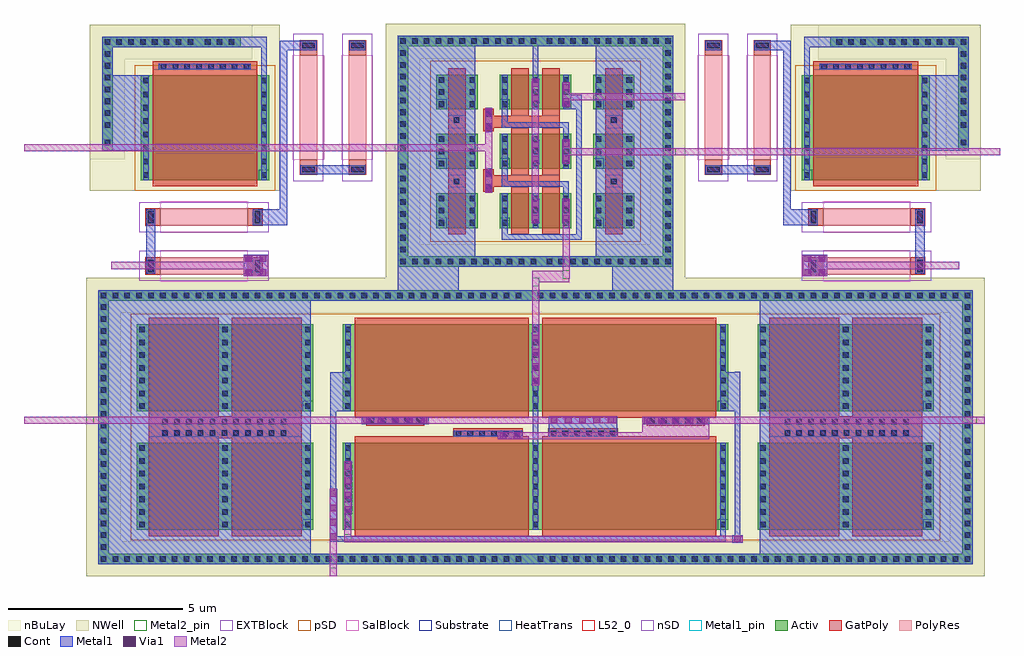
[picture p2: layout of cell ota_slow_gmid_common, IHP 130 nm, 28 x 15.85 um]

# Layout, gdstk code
from math import pi, radians
import gdstk
lib = gdstk.Library(unit=1e-6, precision=1e-09)
def R(c, l, rs):  # rectangles x0, y0, x1, y1
    for r in rs: c.add(gdstk.rectangle(r[:2], r[2:], *l))
def A(c, l, x, y, w, h, nx, ny, dx, dy):  # array of equal rectangles
    R(c, l, [(x+i*dx, y+j*dy, x+i*dx+w, y+j*dy+h) for i in range(nx) for j in range(ny)])
def P(c, l, *ps):  # polygons
    for p in ps: c.add(gdstk.Polygon(p, *l))
Activ = (1, 0)
GatPoly = (5, 0)
Cont = (6, 0)
nSD = (7, 0)
Metal1 = (8, 0)
Metal1_pin = (8, 2)
Metal2 = (10, 0)
Metal2_pin = (10, 2)
pSD = (14, 0)
Via1 = (19, 0)
SalBlock = (28, 0)
NWell = (31, 0)
nBuLay = (32, 0)
Substrate = (40, 0)
HeatTrans = (51, 0)
L52_0 = (52, 0)
EXTBlock = (111, 0)
PolyRes = (128, 0)

pmos_3 = lib.new_cell('pmos$3')
A(pmos_3, Activ, 0, 0, 0.3, 0.3, 3, 1, 0.88, 0)
R(pmos_3, Activ, [(0,0,2.06,1)])
R(pmos_3, GatPoly, [(0.34,-0.18,0.84,1.18), (0.34,-0.18,0.84,1.18), (1.22,-0.18,1.72,1.18)])
A(pmos_3, Cont, 0.07, 0.07, 0.16, 0.16, 3, 3, 0.88, 0.35)
R(pmos_3, Metal1, [(0.07,0,0.23,1), (0.07,0,0.23,1), (0.95,0,1.11,1), (0.95,0,1.11,1), (1.83,0,1.99,1)])
R(pmos_3, pSD, [(-0.18,-0.3,2.24,1.3)])
R(pmos_3, NWell, [(-0.31,-0.31,2.37,1.31)])
R(pmos_3, Substrate, [(1.76,0,2.06,0.3)])
R(pmos_3, HeatTrans, [(0.34,-0.18,0.84,1.18), (1.22,-0.18,1.72,1.18)])
pmos_3.add(gdstk.Label('pmos', (0.59,0.5), layer=63, texttype=0))
pmos_3.add(gdstk.Label('pmos', (0.59,0.5), layer=51, texttype=0))
pmos_3.add(gdstk.Label('pmos', (1.47,0.5), layer=51, texttype=0))

pmos_2 = lib.new_cell('pmos$2')
R(pmos_2, Activ, [(0,0,0.3,0.3), (0,0,1.18,1), (0.88,0,1.18,0.3)])
R(pmos_2, GatPoly, [(0.34,-0.18,0.84,1.18), (0.34,-0.18,0.84,1.18)])
A(pmos_2, Cont, 0.07, 0.07, 0.16, 0.16, 1, 3, 0, 0.35)
A(pmos_2, Cont, 0.95, 0.07, 0.16, 0.16, 1, 3, 0, 0.35)
R(pmos_2, Metal1, [(0.07,0,0.23,1), (0.07,0,0.23,1), (0.95,0,1.11,1), (0.95,0,1.11,1)])
R(pmos_2, pSD, [(-0.18,-0.3,1.36,1.3)])
R(pmos_2, NWell, [(-0.31,-0.31,1.49,1.31)])
R(pmos_2, Substrate, [(0.88,0,1.18,0.3)])
R(pmos_2, HeatTrans, [(0.34,-0.18,0.84,1.18)])
pmos_2.add(gdstk.Label('pmos', (0.59,0.5), layer=63, texttype=0))
pmos_2.add(gdstk.Label('pmos', (0.59,0.5), layer=51, texttype=0))

guard_ring_4_1 = lib.new_cell('guard_ring$4$1')
R(guard_ring_4_1, Activ, [(-3.95,-3.01,-3.65,3.01), (3.65,-3.01,3.95,3.01), (-3.95,3.01,3.95,3.31)])
P(guard_ring_4_1, Activ, [(-3.95,-3.31),(-3.95,3.01),(-3.65,3.01),(-3.65,-3.01),(3.65,-3.01),(3.65,3.01),(-3.95,3.01),(-3.95,3.31),(3.95,3.31),(3.95,-3.31)])
A(guard_ring_4_1, Cont, -3.88, -3.24, 0.16, 0.16, 11, 2, 0.34, 6.32)
A(guard_ring_4_1, Cont, -0.02, -3.24, 0.16, 0.16, 12, 2, 0.34, 6.32)
A(guard_ring_4_1, Cont, -3.88, -2.9, 0.16, 0.16, 1, 8, 0, 0.34)
A(guard_ring_4_1, Cont, 3.72, -2.9, 0.16, 0.16, 1, 8, 0, 0.34)
A(guard_ring_4_1, Cont, -3.88, 0.02, 0.16, 0.16, 1, 9, 0, 0.34)
A(guard_ring_4_1, Cont, 3.72, 0.02, 0.16, 0.16, 1, 9, 0, 0.34)
R(guard_ring_4_1, Metal1, [(-3.95,-3.31,3.95,-3.01), (-3.95,-3.01,-3.65,3.01), (3.65,-3.01,3.95,3.01), (-3.95,3.01,3.95,3.31)])
R(guard_ring_4_1, NWell, [(-4.3,-3.66,4.3,3.66)])
R(guard_ring_4_1, nBuLay, [(-4.3,-2.66,-3.3,2.66), (3.3,-2.66,4.3,2.66), (-4.3,2.66,4.3,3.66)])
P(guard_ring_4_1, nBuLay, [(-4.3,-3.66),(-4.3,2.66),(-3.3,2.66),(-3.3,-2.66),(3.3,-2.66),(3.3,2.66),(-4.3,2.66),(-4.3,3.66),(4.3,3.66),(4.3,-3.66)])
guard_ring_4_1.add(gdstk.Label('well', (0,-3.16), layer=63, texttype=0))

via_stack_14_1 = lib.new_cell('via_stack$14$1')
R(via_stack_14_1, GatPoly, [(-0.15,-0.32,0.15,0.32)])
R(via_stack_14_1, Cont, [(-0.08,-0.25,0.08,-0.09), (-0.08,0.09,0.08,0.25)])
R(via_stack_14_1, Metal1, [(-0.105,-0.35,0.105,0.35)])
R(via_stack_14_1, Metal2, [(-0.1,-0.35,0.1,0.35)])
R(via_stack_14_1, Via1, [(-0.095,-0.3,0.095,-0.11), (-0.095,0.11,0.095,0.3)])

via_stack_16_1 = lib.new_cell('via_stack$16$1')
R(via_stack_16_1, GatPoly, [(-0.15,-0.15,0.15,0.15)])
R(via_stack_16_1, Cont, [(-0.08,-0.08,0.08,0.08)])
R(via_stack_16_1, Metal1, [(-0.13,-0.08,0.13,0.08)])

via_stack_10_1 = lib.new_cell('via_stack$10$1')
R(via_stack_10_1, Metal1, [(-0.105,-0.35,0.105,0.35)])
R(via_stack_10_1, Metal2, [(-0.1,-0.35,0.1,0.35)])
R(via_stack_10_1, Via1, [(-0.095,-0.3,0.095,-0.11), (-0.095,0.11,0.095,0.3)])

ota_slow_gmid_tail = lib.new_cell('ota_slow_gmid_tail')
R(ota_slow_gmid_tail, GatPoly, [(-2.5,-1.02,-2,-0.68), (-1.395,-1.02,0.69,-0.68), (2,-1.02,2.5,-0.68), (-2.5,0.68,-2,1.02), (-1.415,0.68,0.69,1.02), (2,0.68,2.5,1.02)])
R(ota_slow_gmid_tail, Metal1, [(-3.95,-3.31,-1.73,3.31), (1.73,-3.31,3.95,3.31), (-0.96,-2.54,1.33,-2.38), (-0.96,-2.54,-0.8,-2.145), (1.17,-2.54,1.33,1.62), (0.8,-1.39,0.96,-0.86), (-0.96,-1.02,-0.8,-0.385), (-0.96,-1.02,0.96,-0.86), (0.8,0.31,0.96,0.84), (-0.96,0.68,-0.8,1.315), (-0.96,0.68,0.96,0.84), (0.8,1.2,1.33,1.62), (-0.08,2.115,0.08,3.31)])
R(ota_slow_gmid_tail, Metal1_pin, [(-3.95,3.01,3.95,3.31)])
R(ota_slow_gmid_tail, Metal2, [(0.78,-3.66,0.98,-1.82), (-0.1,-2.06,0.1,2.085), (-1.44,-0.835,-1.24,0.85), (0.78,-0.11,4.3,0.09), (-4.3,0,-1.24,0.2), (0.78,1.465,4.3,1.665)])
R(ota_slow_gmid_tail, Metal2_pin, [(0.78,-3.66,0.98,-3.41), (4.005,-0.11,4.3,0.09), (-4.3,0,-4.015,0.2), (4,1.465,4.3,1.665)])
R(ota_slow_gmid_tail, pSD, [(-3.02,-2.6,3.02,2.6)])
R(ota_slow_gmid_tail, NWell, [(-3.15,-2.51,3.15,2.51)])
r = gdstk.Reference(pmos_3, (1.03,-2.2), rotation=pi, x_reflection=True); r.repetition = gdstk.Repetition(1, 3, v1=(0,0), v2=(0,1.7)); ota_slow_gmid_tail.add(r)
r = gdstk.Reference(pmos_2, (2.84,-2.2), rotation=pi, x_reflection=True); r.repetition = gdstk.Repetition(2, 3, v1=(-4.5,0), v2=(0,1.7)); ota_slow_gmid_tail.add(r)
ota_slow_gmid_tail.add(gdstk.Reference(guard_ring_4_1, (0,0), rotation=pi, x_reflection=True))
ota_slow_gmid_tail.add(gdstk.Reference(via_stack_14_1, (-1.34,-0.84), rotation=pi, x_reflection=True))
ota_slow_gmid_tail.add(gdstk.Reference(via_stack_14_1, (-1.34,0.9), rotation=pi, x_reflection=True))
ota_slow_gmid_tail.add(gdstk.Reference(via_stack_16_1, (2.245,0.895), rotation=pi, x_reflection=True))
ota_slow_gmid_tail.add(gdstk.Reference(via_stack_16_1, (2.245,-0.865), rotation=pi, x_reflection=True))
ota_slow_gmid_tail.add(gdstk.Reference(via_stack_16_1, (-2.27,0.895), rotation=pi, x_reflection=True))
ota_slow_gmid_tail.add(gdstk.Reference(via_stack_16_1, (-2.27,-0.865), rotation=pi, x_reflection=True))
ota_slow_gmid_tail.add(gdstk.Reference(via_stack_10_1, (0.88,1.625), rotation=pi, x_reflection=True))
ota_slow_gmid_tail.add(gdstk.Reference(via_stack_10_1, (0.88,0), rotation=pi, x_reflection=True))
ota_slow_gmid_tail.add(gdstk.Reference(via_stack_10_1, (0.88,-1.71), rotation=pi, x_reflection=True))
ota_slow_gmid_tail.add(gdstk.Reference(via_stack_10_1, (0,-1.71), rotation=pi, x_reflection=True))
ota_slow_gmid_tail.add(gdstk.Reference(via_stack_10_1, (0,-0.02), rotation=pi, x_reflection=True))
ota_slow_gmid_tail.add(gdstk.Reference(via_stack_10_1, (0,1.735), rotation=pi, x_reflection=True))
ota_slow_gmid_tail.add(gdstk.Label('VDD', (0,3.31), layer=8, texttype=2))
ota_slow_gmid_tail.add(gdstk.Label('tail', (0.88,-3.66), layer=10, texttype=2))
ota_slow_gmid_tail.add(gdstk.Label('ibiasn', (4.3,1.565), layer=10, texttype=2))
ota_slow_gmid_tail.add(gdstk.Label('vout1', (4.3,-0.01), layer=10, texttype=2))
ota_slow_gmid_tail.add(gdstk.Label('ibias', (-4.3,0.1), layer=10, texttype=2))

pmos = lib.new_cell('pmos')
A(pmos, Activ, 0, 0, 0.3, 0.3, 3, 1, 5.38, 0)
R(pmos, Activ, [(0,0,11.06,2.5)])
R(pmos, GatPoly, [(0.34,-0.18,5.34,2.68), (0.34,-0.18,5.34,2.68), (5.72,-0.18,10.72,2.68)])
A(pmos, Cont, 0.07, 0.07, 0.16, 0.16, 3, 3, 5.38, 0.365)
A(pmos, Cont, 0.07, 1.17, 0.16, 0.16, 3, 3, 5.38, 0.365)
A(pmos, Cont, 0.07, 2.27, 0.16, 0.16, 3, 1, 5.38, 0)
R(pmos, Metal1, [(0.07,0,0.23,2.5), (0.07,0,0.23,2.5), (5.45,0,5.61,2.5), (5.45,0,5.61,2.5), (10.83,0,10.99,2.5)])
R(pmos, pSD, [(-0.18,-0.3,11.24,2.8)])
R(pmos, NWell, [(-0.31,-0.31,11.37,2.81)])
R(pmos, Substrate, [(10.76,0,11.06,0.3)])
R(pmos, HeatTrans, [(0.34,-0.18,5.34,2.68), (5.72,-0.18,10.72,2.68)])
pmos.add(gdstk.Label('pmos', (2.84,1.25), layer=63, texttype=0))
pmos.add(gdstk.Label('pmos', (2.84,1.25), layer=51, texttype=0))
pmos.add(gdstk.Label('pmos', (8.22,1.25), layer=51, texttype=0))

pmos_4 = lib.new_cell('pmos$4')
A(pmos_4, Activ, 0, 0, 0.3, 0.3, 3, 1, 2.38, 0)
R(pmos_4, Activ, [(0,0,5.06,2.5)])
R(pmos_4, GatPoly, [(0.34,-0.18,2.34,2.68), (0.34,-0.18,2.34,2.68), (2.72,-0.18,4.72,2.68)])
A(pmos_4, Cont, 0.07, 0.07, 0.16, 0.16, 3, 3, 2.38, 0.365)
A(pmos_4, Cont, 0.07, 1.17, 0.16, 0.16, 3, 3, 2.38, 0.365)
A(pmos_4, Cont, 0.07, 2.27, 0.16, 0.16, 3, 1, 2.38, 0)
R(pmos_4, Metal1, [(0.07,0,0.23,2.5), (0.07,0,0.23,2.5), (2.45,0,2.61,2.5), (2.45,0,2.61,2.5), (4.83,0,4.99,2.5)])
R(pmos_4, pSD, [(-0.18,-0.3,5.24,2.8)])
R(pmos_4, NWell, [(-0.31,-0.31,5.37,2.81)])
R(pmos_4, Substrate, [(4.76,0,5.06,0.3)])
R(pmos_4, HeatTrans, [(0.34,-0.18,2.34,2.68), (2.72,-0.18,4.72,2.68)])
pmos_4.add(gdstk.Label('pmos', (1.34,1.25), layer=63, texttype=0))
pmos_4.add(gdstk.Label('pmos', (1.34,1.25), layer=51, texttype=0))
pmos_4.add(gdstk.Label('pmos', (3.72,1.25), layer=51, texttype=0))

via_stack_17 = lib.new_cell('via_stack$17')
R(via_stack_17, GatPoly, [(-1.85,-0.32,1.85,0.32)])
A(via_stack_17, Cont, -1.78, -0.25, 0.16, 0.16, 11, 2, 0.34, 0.34)
R(via_stack_17, Metal1, [(-1.83,-0.25,1.83,0.25)])

guard_ring_5 = lib.new_cell('guard_ring$5')
R(guard_ring_5, Activ, [(-12.54,-3.63,-12.24,3.63), (12.24,-3.63,12.54,3.63), (-12.54,3.63,12.54,3.93)])
P(guard_ring_5, Activ, [(-12.54,-3.93),(-12.54,3.63),(-12.24,3.63),(-12.24,-3.63),(12.24,-3.63),(12.24,3.63),(-12.54,3.63),(-12.54,3.93),(12.54,3.93),(12.54,-3.93)])
A(guard_ring_5, Cont, -12.47, -3.86, 0.16, 0.16, 36, 2, 0.34, 7.56)
A(guard_ring_5, Cont, 0.07, -3.86, 0.16, 0.16, 37, 2, 0.34, 7.56)
A(guard_ring_5, Cont, -12.47, -3.52, 0.16, 0.16, 1, 10, 0, 0.34)
A(guard_ring_5, Cont, 12.31, -3.52, 0.16, 0.16, 1, 10, 0, 0.34)
A(guard_ring_5, Cont, -12.47, -0.04, 0.16, 0.16, 1, 11, 0, 0.34)
A(guard_ring_5, Cont, 12.31, -0.04, 0.16, 0.16, 1, 11, 0, 0.34)
R(guard_ring_5, Metal1, [(-12.54,-3.93,12.54,-3.63), (-12.54,-3.63,-12.24,3.63), (12.24,-3.63,12.54,3.63), (-12.54,3.63,12.54,3.93)])
R(guard_ring_5, NWell, [(-12.89,-4.28,12.89,4.28)])
R(guard_ring_5, nBuLay, [(-12.89,-3.28,-11.89,3.28), (11.89,-3.28,12.89,3.28), (-12.89,3.28,12.89,4.28)])
P(guard_ring_5, nBuLay, [(-12.89,-4.28),(-12.89,3.28),(-11.89,3.28),(-11.89,-3.28),(11.89,-3.28),(11.89,3.28),(-12.89,3.28),(-12.89,4.28),(12.89,4.28),(12.89,-4.28)])
guard_ring_5.add(gdstk.Label('well', (0,-3.78), layer=63, texttype=0))

via_stack_2_1 = lib.new_cell('via_stack$2$1')
R(via_stack_2_1, Metal1, [(-0.105,-0.76,0.105,0.76)])
R(via_stack_2_1, Metal2, [(-0.1,-0.76,0.1,0.76)])
A(via_stack_2_1, Via1, -0.095, -0.71, 0.19, 0.19, 1, 4, 0, 0.41)

via_stack_8_1 = lib.new_cell('via_stack$8$1')
R(via_stack_8_1, Metal1, [(-0.145,-0.105,0.145,0.105)])
R(via_stack_8_1, Metal2, [(-0.145,-0.1,0.145,0.1)])
R(via_stack_8_1, Via1, [(-0.095,-0.095,0.095,0.095)])

via_stack_6_1 = lib.new_cell('via_stack$6$1')
R(via_stack_6_1, GatPoly, [(-0.83,-0.15,0.83,0.15)])
A(via_stack_6_1, Cont, -0.76, -0.08, 0.16, 0.16, 5, 1, 0.34, 0)
R(via_stack_6_1, Metal1, [(-0.965,-0.105,0.965,0.105)])
R(via_stack_6_1, Metal2, [(-0.965,-0.1,0.965,0.1)])
A(via_stack_6_1, Via1, -0.915, -0.095, 0.19, 0.19, 5, 1, 0.41, 0)

via_stack_3_1 = lib.new_cell('via_stack$3$1')
R(via_stack_3_1, GatPoly, [(-1,-0.15,1,0.15)])
A(via_stack_3_1, Cont, -0.93, -0.08, 0.16, 0.16, 6, 1, 0.34, 0)
R(via_stack_3_1, Metal1, [(-0.98,-0.08,0.98,0.08)])

via_stack_5 = lib.new_cell('via_stack$5')
R(via_stack_5, Metal1, [(-0.35,-0.105,0.35,0.105)])
R(via_stack_5, Metal2, [(-0.35,-0.1,0.35,0.1)])
R(via_stack_5, Via1, [(-0.3,-0.095,-0.11,0.095), (0.11,-0.095,0.3,0.095)])

via_stack_4_1 = lib.new_cell('via_stack$4$1')
R(via_stack_4_1, Metal1, [(-0.965,-0.105,0.965,0.105)])
R(via_stack_4_1, Metal2, [(-0.965,-0.1,0.965,0.1)])
A(via_stack_4_1, Via1, -0.915, -0.095, 0.19, 0.19, 5, 1, 0.41, 0)

ota_slow_gmid_pairs = lib.new_cell('ota_slow_gmid_pairs')
R(ota_slow_gmid_pairs, GatPoly, [(-11.09,-0.27,-6.71,0.27), (6.71,-0.27,11.09,0.27)])
R(ota_slow_gmid_pairs, Metal1, [(-12.54,-3.93,-6.44,3.93), (6.44,-3.93,12.54,3.93), (-5.88,-3.29,-5.71,1.575), (-5.88,-3.29,5.46,-3.13), (5.3,-3.29,5.46,-2.8), (5.71,-3.25,5.88,1.58), (-0.08,-2.95,0.08,2.95), (0.385,-0.27,2.345,0.31), (-5.88,0.45,-5.3,1.575), (5.3,0.45,5.88,1.575)])
R(ota_slow_gmid_pairs, Metal1_pin, [(-9.54,3.63,9.54,3.93)])
R(ota_slow_gmid_pairs, Metal2, [(-5.895,-4.28,-5.695,-2.935), (-5.48,-3.31,-5.28,-2.32), (-5.48,-3.31,5.685,-3.11), (-1.08,-0.345,4.99,-0.145), (3.06,-0.315,4.99,0.29), (-12.89,0.09,-4.81,0.29), (-3.28,0.09,1.68,0.29), (4.545,0.09,12.89,0.29), (-0.095,2.395,0.105,4.28)])
R(ota_slow_gmid_pairs, Metal2_pin, [(-5.895,-4.28,-5.695,-4.035), (-5.48,-3.31,-5.28,-3.07), (-12.89,0.09,-12.665,0.29), (12.645,0.09,12.89,0.29), (-0.095,4.035,0.105,4.28)])
R(ota_slow_gmid_pairs, pSD, [(-11.61,-3.25,11.61,3.25)])
r = gdstk.Reference(pmos, (-5.53,-2.95)); r.repetition = gdstk.Repetition(1, 2, v1=(0,0), v2=(0,3.4)); ota_slow_gmid_pairs.add(r)
r = gdstk.Reference(pmos_4, (-11.43,-2.95)); r.repetition = gdstk.Repetition(2, 2, v1=(17.8,0), v2=(0,3.4)); ota_slow_gmid_pairs.add(r)
ota_slow_gmid_pairs.add(gdstk.Reference(via_stack_17, (8.925,-0.005)))
ota_slow_gmid_pairs.add(gdstk.Reference(via_stack_17, (-8.925,-0.005), rotation=pi, x_reflection=True))
ota_slow_gmid_pairs.add(gdstk.Reference(guard_ring_5, (0,0)))
ota_slow_gmid_pairs.add(gdstk.Reference(via_stack_2_1, (-5.38,-1.745)))
ota_slow_gmid_pairs.add(gdstk.Reference(via_stack_8_1, (5.795,-3.21)))
ota_slow_gmid_pairs.add(gdstk.Reference(via_stack_6_1, (-4.02,0.19)))
ota_slow_gmid_pairs.add(gdstk.Reference(via_stack_3_1, (-1.36,-0.19)))
ota_slow_gmid_pairs.add(gdstk.Reference(via_stack_6_1, (4.025,0.19), rotation=pi, x_reflection=True))
ota_slow_gmid_pairs.add(gdstk.Reference(via_stack_3_1, (1.365,-0.19), rotation=pi, x_reflection=True))
ota_slow_gmid_pairs.add(gdstk.Reference(via_stack_5, (-0.73,-0.25)))
ota_slow_gmid_pairs.add(gdstk.Reference(via_stack_4_1, (1.35,0.205)))
ota_slow_gmid_pairs.add(gdstk.Reference(via_stack_2_1, (0.005,1.94)))
ota_slow_gmid_pairs.add(gdstk.Reference(via_stack_2_1, (-5.795,-2.525)))
ota_slow_gmid_pairs.add(gdstk.Label('VDD', (0,3.93), layer=8, texttype=2))
ota_slow_gmid_pairs.add(gdstk.Label('vref', (-5.38,-3.31), layer=10, texttype=2))
ota_slow_gmid_pairs.add(gdstk.Label('vp', (-12.89,0.19), layer=10, texttype=2))
ota_slow_gmid_pairs.add(gdstk.Label('vota', (-5.795,-4.28), layer=10, texttype=2))
ota_slow_gmid_pairs.add(gdstk.Label('vn', (12.89,0.19), layer=10, texttype=2))
ota_slow_gmid_pairs.add(gdstk.Label('tail', (0,4.28), layer=10, texttype=2))

pmos_6 = lib.new_cell('pmos$6')
R(pmos_6, Activ, [(0,0,0.3,0.3), (0,0,3.68,3), (3.38,0,3.68,0.3)])
R(pmos_6, GatPoly, [(0.34,-0.18,3.34,3.18), (0.34,-0.18,3.34,3.18)])
A(pmos_6, Cont, 0.07, 0.07, 0.16, 0.16, 1, 7, 0, 0.385)
A(pmos_6, Cont, 3.45, 0.07, 0.16, 0.16, 1, 7, 0, 0.385)
R(pmos_6, Cont, [(0.07,2.77,0.23,2.93), (3.45,2.77,3.61,2.93)])
R(pmos_6, Metal1, [(0.07,0,0.23,3), (0.07,0,0.23,3), (3.45,0,3.61,3), (3.45,0,3.61,3)])
R(pmos_6, pSD, [(-0.18,-0.3,3.86,3.3)])
R(pmos_6, NWell, [(-0.31,-0.31,3.99,3.31)])
R(pmos_6, Substrate, [(3.38,0,3.68,0.3)])
R(pmos_6, HeatTrans, [(0.34,-0.18,3.34,3.18)])
pmos_6.add(gdstk.Label('pmos', (1.84,1.5), layer=63, texttype=0))
pmos_6.add(gdstk.Label('pmos', (1.84,1.5), layer=51, texttype=0))

rhigh_1 = lib.new_cell('rhigh$1')
R(rhigh_1, GatPoly, [(0,-0.43,0.5,0), (1.4,-0.43,1.9,0), (0,3,0.5,3.43), (1.4,3,1.9,3.43)])
R(rhigh_1, Cont, [(0.07,-0.36,0.43,-0.2), (1.47,-0.36,1.83,-0.2), (0.07,3.2,0.43,3.36), (1.47,3.2,1.83,3.36)])
R(rhigh_1, nSD, [(-0.18,-0.61,0.68,0.18), (1.22,-0.61,2.08,0.18), (-0.18,0,0.68,3), (-0.18,0,0.68,3), (1.22,0,2.08,3), (1.22,0,2.08,3), (-0.18,2.82,0.68,3.61), (1.22,2.82,2.08,3.61)])
R(rhigh_1, Metal1, [(0.02,-0.41,0.48,-0.15), (1.42,-0.41,1.88,-0.15), (0.02,3.15,0.48,3.41), (0.02,3.15,1.88,3.41), (1.42,3.15,1.88,3.41)])
R(rhigh_1, Metal1_pin, [(0.02,-0.41,0.48,-0.15), (1.42,-0.41,1.88,-0.15), (0.02,3.15,0.48,3.41), (1.42,3.15,1.88,3.41)])
R(rhigh_1, pSD, [(-0.18,-0.61,0.68,0.18), (1.22,-0.61,2.08,0.18), (-0.18,0,0.68,3), (-0.18,0,0.68,3), (1.22,0,2.08,3), (1.22,0,2.08,3), (-0.18,2.82,0.68,3.61), (1.22,2.82,2.08,3.61)])
R(rhigh_1, SalBlock, [(-0.2,0,0.7,3), (1.2,0,2.1,3)])
R(rhigh_1, L52_0, [(0,0,0.5,3), (1.4,0,1.9,3)])
R(rhigh_1, EXTBlock, [(-0.18,-0.61,0.68,0.18), (1.22,-0.61,2.08,0.18), (-0.2,0,0.7,3), (1.2,0,2.1,3), (-0.18,2.82,0.68,3.61), (1.22,2.82,2.08,3.61)])
R(rhigh_1, PolyRes, [(0,0,0.5,3), (1.4,0,1.9,3)])
rhigh_1.add(gdstk.Label('rhigh r=9189.565', (0.25,1.5), layer=63, texttype=0))
rhigh_1.add(gdstk.Label('rhigh r=9189.565', (0.25,1.5), layer=63, texttype=0))
rhigh_1.add(gdstk.Label('rhigh', (0.25,1.5), layer=52, texttype=0))
rhigh_1.add(gdstk.Label('rhigh', (1.65,1.5), layer=52, texttype=0))

rhigh = lib.new_cell('rhigh')
R(rhigh, GatPoly, [(0,-0.43,0.5,0), (1.4,-0.43,1.9,0), (0,2.5,0.5,2.93), (1.4,2.5,1.9,2.93)])
R(rhigh, Cont, [(0.07,-0.36,0.43,-0.2), (1.47,-0.36,1.83,-0.2), (0.07,2.7,0.43,2.86), (1.47,2.7,1.83,2.86)])
R(rhigh, nSD, [(-0.18,-0.61,0.68,0.18), (1.22,-0.61,2.08,0.18), (-0.18,0,0.68,2.5), (-0.18,0,0.68,2.5), (1.22,0,2.08,2.5), (1.22,0,2.08,2.5), (-0.18,2.32,0.68,3.11), (1.22,2.32,2.08,3.11)])
R(rhigh, Metal1, [(0.02,-0.41,0.48,-0.15), (1.42,-0.41,1.88,-0.15), (0.02,2.65,0.48,2.91), (0.02,2.65,1.88,2.91), (1.42,2.65,1.88,2.91)])
R(rhigh, Metal1_pin, [(0.02,-0.41,0.48,-0.15), (1.42,-0.41,1.88,-0.15), (0.02,2.65,0.48,2.91), (1.42,2.65,1.88,2.91)])
R(rhigh, pSD, [(-0.18,-0.61,0.68,0.18), (1.22,-0.61,2.08,0.18), (-0.18,0,0.68,2.5), (-0.18,0,0.68,2.5), (1.22,0,2.08,2.5), (1.22,0,2.08,2.5), (-0.18,2.32,0.68,3.11), (1.22,2.32,2.08,3.11)])
R(rhigh, SalBlock, [(-0.2,0,0.7,2.5), (1.2,0,2.1,2.5)])
R(rhigh, L52_0, [(0,0,0.5,2.5), (1.4,0,1.9,2.5)])
R(rhigh, EXTBlock, [(-0.18,-0.61,0.68,0.18), (1.22,-0.61,2.08,0.18), (-0.2,0,0.7,2.5), (1.2,0,2.1,2.5), (-0.18,2.32,0.68,3.11), (1.22,2.32,2.08,3.11)])
R(rhigh, PolyRes, [(0,0,0.5,2.5), (1.4,0,1.9,2.5)])
rhigh.add(gdstk.Label('rhigh r=7711.304', (0.25,1.25), layer=63, texttype=0))
rhigh.add(gdstk.Label('rhigh r=7711.304', (0.25,1.25), layer=63, texttype=0))
rhigh.add(gdstk.Label('rhigh', (0.25,1.25), layer=52, texttype=0))
rhigh.add(gdstk.Label('rhigh', (1.65,1.25), layer=52, texttype=0))

via_stack_25 = lib.new_cell('via_stack$25')
R(via_stack_25, Metal1, [(-0.35,-0.31,0.35,0.31)])
R(via_stack_25, Metal2, [(-0.35,-0.305,0.35,0.305)])
R(via_stack_25, Via1, [(-0.3,-0.3,-0.11,-0.11), (0.11,-0.3,0.3,-0.11), (-0.3,0.11,-0.11,0.3), (0.11,0.11,0.3,0.3)])

via_stack_20_1 = lib.new_cell('via_stack$20$1')
R(via_stack_20_1, GatPoly, [(-1.34,-0.15,1.34,0.15)])
A(via_stack_20_1, Cont, -1.27, -0.08, 0.16, 0.16, 8, 1, 0.34, 0)
R(via_stack_20_1, Metal1, [(-1.32,-0.08,1.32,0.08)])

ota_slow_gmid_miller = lib.new_cell('ota_slow_gmid_miller')
R(ota_slow_gmid_miller, Activ, [(-2.95,-0.665,-2.65,2.31), (-2.95,2.31,1.025,2.61)])
R(ota_slow_gmid_miller, GatPoly, [(-1.5,1.68,1.5,1.91)])
A(ota_slow_gmid_miller, Cont, -2.88, 0, 0.16, 0.16, 1, 7, 0, 0.34)
A(ota_slow_gmid_miller, Cont, -2.88, 2.38, 0.16, 0.16, 8, 1, 0.34, 0)
A(ota_slow_gmid_miller, Cont, 0, 2.38, 0.16, 0.16, 3, 1, 0.34, 0)
R(ota_slow_gmid_miller, Cont, [(-2.88,-0.5,-2.72,-0.34)])
R(ota_slow_gmid_miller, Metal1, [(1.375,-2.79,2.365,-2.33), (2.15,-2.79,2.365,2.49), (-2.95,-0.665,-2.65,2.31), (-2.95,-0.665,-1.61,1.5), (1.61,1.39,1.77,2.61), (2.15,2.23,3.2,2.49), (-2.95,2.31,1.025,2.61), (0.615,2.31,1.77,2.61)])
R(ota_slow_gmid_miller, Metal2, [(-2.685,-4.06,1.35,-3.845)])
R(ota_slow_gmid_miller, NWell, [(-3.3,-1.81,2.15,2.96)])
R(ota_slow_gmid_miller, nBuLay, [(-3.3,-0.905,-2.3,1.96), (-3.3,1.96,1.36,2.96)])
ota_slow_gmid_miller.add(gdstk.Reference(pmos_6, (-1.84,-1.5)))
ota_slow_gmid_miller.add(gdstk.Reference(rhigh_1, (2.72,2.08), x_reflection=True))
ota_slow_gmid_miller.add(gdstk.Reference(rhigh, (1.225,-2.31), rotation=3*pi/2, x_reflection=True))
ota_slow_gmid_miller.add(gdstk.Reference(via_stack_25, (1.46,-3.955)))
ota_slow_gmid_miller.add(gdstk.Reference(via_stack_20_1, (0,1.76), x_reflection=True))

ota_slow_gmid_common = lib.new_cell('ota_slow_gmid_common')
R(ota_slow_gmid_common, Metal1, [(-3.95,1.895,-2.205,3.165), (2.205,1.895,3.95,3.165)])
R(ota_slow_gmid_common, Metal2, [(-14.67,-1.645,-12.09,-1.445), (-0.095,2.415,0.975,2.755), (4.065,6.065,13.325,6.265), (-14.67,6.175,-3.46,6.375)])
ota_slow_gmid_common.add(gdstk.Reference(ota_slow_gmid_tail, (0,6.175)))
ota_slow_gmid_common.add(gdstk.Reference(ota_slow_gmid_pairs, (0,-1.735)))
ota_slow_gmid_common.add(gdstk.Reference(ota_slow_gmid_miller, (-9.48,6.85)))
ota_slow_gmid_common.add(gdstk.Reference(ota_slow_gmid_miller, (9.475,6.85), rotation=pi, x_reflection=True))

lib.write_gds('ota_slow_gmid_common.gds')
